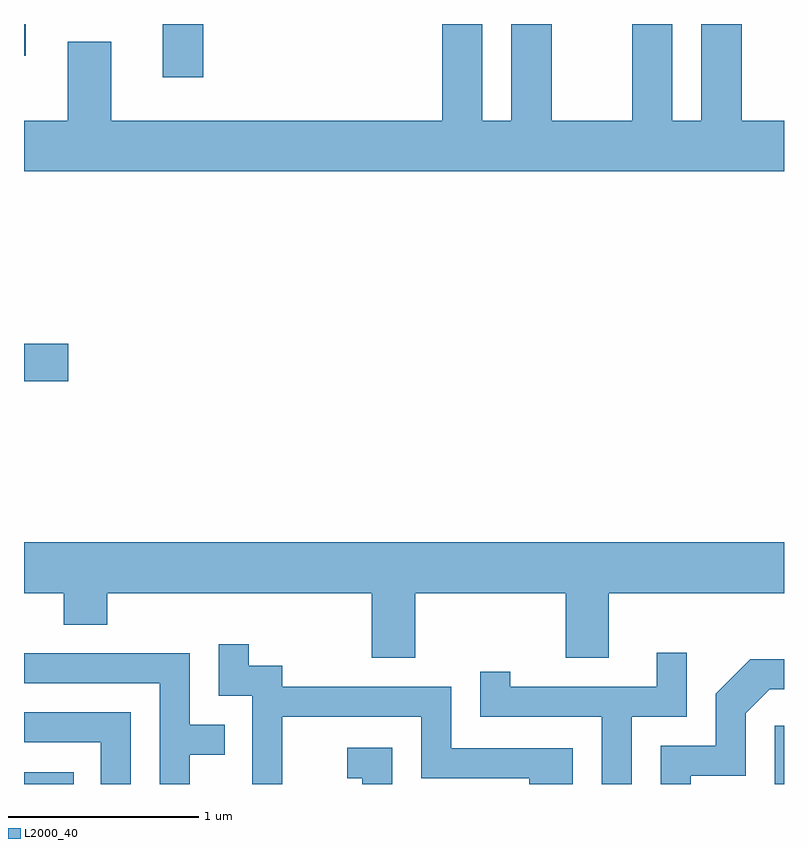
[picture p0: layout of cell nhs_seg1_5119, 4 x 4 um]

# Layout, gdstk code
import gdstk
lib = gdstk.Library(unit=1e-6, precision=1e-09)
def R(c, l, rs):  # rectangles x0, y0, x1, y1
    for r in rs: c.add(gdstk.rectangle(r[:2], r[2:], *l))
def P(c, l, *ps):  # polygons
    for p in ps: c.add(gdstk.Polygon(p, *l))
L2000_40 = (2000, 40)

nhs_seg1_5119 = lib.new_cell('nhs_seg1_5119')
R(nhs_seg1_5119, L2000_40, [(339.611,869.712,339.873,869.774), (343.561,869.712,343.611,870.019), (339.611,871.831,339.844,872.029), (340.341,873.431,340.554,873.712), (339.611,873.546,339.619,873.712)])
P(nhs_seg1_5119, L2000_40, [(339.841,873.619),(339.841,873.204),(339.611,873.204),(339.611,872.936),(343.611,872.936),(343.611,873.204),(343.389,873.204),(343.389,873.712),(343.176,873.712),(343.176,873.204),(343.024,873.204),(343.024,873.712),(342.811,873.712),(342.811,873.204),(342.389,873.204),(342.389,873.712),(342.176,873.712),(342.176,873.204),(342.024,873.204),(342.024,873.712),(341.811,873.712),(341.811,873.204),(340.069,873.204),(340.069,873.619)],
  [(341.669,870.716),(342.461,870.716),(342.461,870.376),(342.689,870.376),(342.689,870.716),(343.611,870.716),(343.611,870.984),(339.611,870.984),(339.611,870.716),(339.821,870.716),(339.821,870.551),(340.049,870.551),(340.049,870.716),(341.441,870.716),(341.441,870.376),(341.669,870.376)],
  [(340.969,870.066),(341.701,870.066),(341.701,869.741),(342.271,869.741),(342.271,869.712),(342.499,869.712),(342.499,869.899),(341.859,869.899),(341.859,870.224),(340.969,870.224),(340.969,870.334),(340.794,870.334),(340.794,870.448),(340.636,870.448),(340.636,870.176),(340.811,870.176),(340.811,869.712),(340.969,869.712)],
  [(342.809,870.066),(343.099,870.066),(343.099,870.403),(342.941,870.403),(342.941,870.224),(342.169,870.224),(342.169,870.303),(342.011,870.303),(342.011,870.066),(342.651,870.066),(342.651,869.712),(342.809,869.712)],
  [(340.484,869.866),(340.668,869.866),(340.668,870.024),(340.484,870.024),(340.484,870.399),(339.611,870.399),(339.611,870.241),(340.326,870.241),(340.326,869.712),(340.484,869.712)],
  [(343.119,869.756),(343.409,869.756),(343.409,870.084),(343.537,870.211),(343.611,870.211),(343.611,870.369),(343.434,870.369),(343.251,870.187),(343.251,869.914),(342.961,869.914),(342.961,869.712),(343.119,869.712)],
  [(340.174,870.089),(339.611,870.089),(339.611,869.931),(340.016,869.931),(340.016,869.712),(340.174,869.712)],
  [(341.549,869.904),(341.313,869.904),(341.313,869.741),(341.391,869.741),(341.391,869.712),(341.549,869.712)])

lib.write_gds('nhs_seg1_5119.gds')
